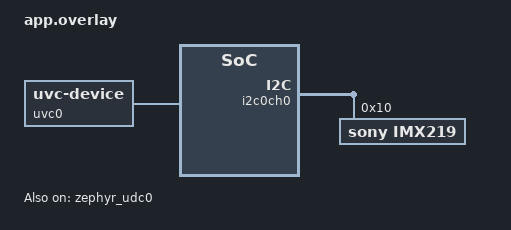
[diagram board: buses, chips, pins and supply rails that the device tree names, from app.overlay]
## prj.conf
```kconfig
CONFIG_MINIMAL_LIBC=y
CONFIG_ASSERT=y
CONFIG_SERIAL=y

# SHELL
CONFIG_SHELL=y
CONFIG_I2C_SHELL=y
CONFIG_VIDEO_SHELL=y
CONFIG_KERNEL_SHELL=y
CONFIG_SHELL_BACKEND_SERIAL_API_INTERRUPT_DRIVEN=y
CONFIG_SHELL_BACKEND_SERIAL_TX_RING_BUFFER_SIZE=64

# USB
CONFIG_UDC_DRIVER=y
CONFIG_USB_DEVICE_STACK_NEXT=y
CONFIG_USBD_VIDEO_CLASS=y
CONFIG_USBD_VIDEO_NUM_BUFS=0

# VIDEO
CONFIG_VIDEO=y

# I2C
# To support both addon adapter boards with the same firmware.
CONFIG_I2C_PCA9542A_IGNORE_FAILURE=y

# LOG
CONFIG_LOG=y
CONFIG_LOG_MODE_MINIMAL=y
CONFIG_UDC_DRIVER_LOG_LEVEL_INF=y
CONFIG_USBD_LOG_LEVEL_INF=y
CONFIG_USBD_VIDEO_LOG_LEVEL_INF=y
CONFIG_VIDEO_LOG_LEVEL_INF=y
```

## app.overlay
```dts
/*
 * Copyright (c) 2025 tinyVision.ai Inc.
 *
 * SPDX-License-Identifier: Apache-2.0
 */

#include <riscv/tinyvision/from_csi0_to_stats0.dtsi>
#include <riscv/tinyvision/from_csi0_to_debayer0.dtsi>
#include <riscv/tinyvision/from_debayer0_to_uvcmanager0.dtsi>

#include <riscv/tinyvision/add_i2c0_pll.dtsi>
#include <riscv/tinyvision/add_i2c0_multiplexer.dtsi>

/* USB interfaces */

&zephyr_udc0 {
	num-in-endpoints = <2>;
	num-out-endpoints = <1>;
	status = "okay";

	uvc0: uvc0 {
		compatible = "zephyr,uvc-device";
		interface-name = "tinyCLUNX33-IMX219";
	};
};

&uvcmanager0 {
	usb-endpoint = <0x81>;
};

/* Camera 0 config */

/ {
	imx219_input_clock: imx219-input-clock {
		compatible = "fixed-clock";
		clock-frequency = <24000000>;
		#clock-cells = <0>;
	};
};

&i2c0ch0 {
	imx219@10 {
		compatible = "sony,imx219";
		reg = <0x10>;
		clocks = <&imx219_input_clock>;

		port {
			imx219_ep_out: endpoint {
				remote-endpoint-label = "csi0_ep_in";
			};
		};
	};
};

&csi0_ep_in {
	remote-endpoint-label = "imx219_ep_out";
};
```

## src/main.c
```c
#include <zephyr/drivers/video.h>
#include <zephyr/drivers/video-controls.h>
#include <zephyr/usb/class/usbd_uvc.h>
#include <zephyr/logging/log.h>

LOG_MODULE_REGISTER(app_main, LOG_LEVEL_INF);

static const struct device *const uvc0_dev = DEVICE_DT_GET(DT_NODELABEL(uvc0));
static const struct device *const source0_dev = DEVICE_DT_GET(DT_NODELABEL(uvcmanager0));

int app_usb_init(void);

int main(void)
{
	int ret;

	uvc_set_video_dev(uvc0_dev, source0_dev);

	ret = app_usb_init();
	if (ret != 0) {
		LOG_ERR("Failed to initialize USB");
		return ret;
	}

	ret = video_set_ctrl(source0_dev, VIDEO_CID_GAIN, (void *)555);
	if (ret != 0) {
		LOG_ERR("Cannot set the default gain for %s", source0_dev->name);
		return ret;
	}

	return 0;
}
```
